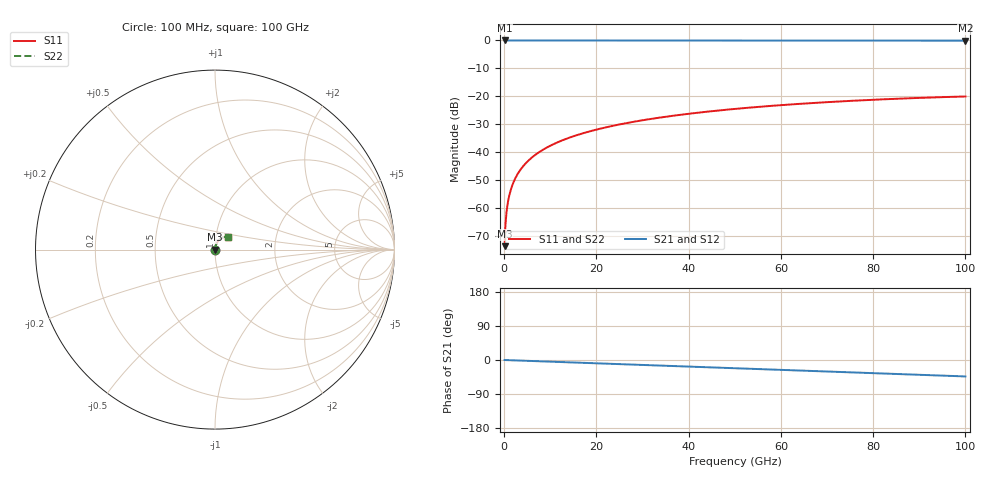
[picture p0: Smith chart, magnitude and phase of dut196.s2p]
! Touchstone file exported from HFSS 2026.1.0
!  File:  C:/ffzhzh/LocalFiles/Ansys_Project_Files/temp_train_TSV_196_1783507390_41296.aedt
!  Generated:  06:44:25 PM Jul  8, 2026
!  Design:  TSV
!  Project:  temp_train_TSV_196_1783507390_41296
! Variables:
!  h_bsmrdl = 2um
!  h_ox = 20um
!  h_rdl = 5um
!  h_sub = 84.22um
!  h_tmrdl = 5um
!  h_tsv = 84.22um
!  h_via = 3um
!  l_bsmrdl = 300um
!  l_sub = 421.22um
!  l_tmrdl = 200um
!  m_sub = 200um
!  pitch = 51.95um
!  r_tsv = 10.61um
!  s_tmrdl = 10um
!  w_bsmrdl = 18um
!  w_sub = 500um
!  w_tmrdl = 12um
!  x_tsv_center1 = 206um
!  x_tsv_center2 = 524um
!  x_tsv_center3 = 736um
!  x_tsv_center4 = 1054um
!  x_tsv_center5 = 1266um
!  x_tsv_center6 = 1584um
# GHz S MA R 50.000000
! Terminal data exported
! Port[1] = TSV1_1_T1
! Port[2] = TSV1_1_T2
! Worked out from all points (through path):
!   1000 points, 100 MHz to 100 GHz, reference 50 ohm
!   highest |S21| = 0.00 dB at 100 MHz (marker M1); lowest = -0.1 dB at 100 GHz (marker M2)
!   group delay of S21, straight-line fit = 1.2 ps
!   lowest |S11| = -73.7 dB at 100 MHz (marker M3), VSWR 1.00, Z = 50 + j0.0169 ohm
!   |S11| at or under -10 dB: start of sweep to end of sweep
!   |S22| runs from -73.7 to -20.1 dB; largest |S21 - S12| = 6e-15
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0.1  0.000207 54.9  0.9999 -0.0  0.9999 -0.0  0.000207 54.9
! Gamma 0 0 0 0
! Port Impedance 50 0 50 0
0.3  0.0005178 73.0  0.9999 -0.1  0.9999 -0.1  0.0005178 73.0
0.7  0.001106 77.6  0.9998 -0.3  0.9998 -0.3  0.001106 77.6
0.8  0.001244 78.1  0.9997 -0.4  0.9997 -0.4  0.001244 78.1
1  0.001517 78.9  0.9997 -0.4  0.9997 -0.4  0.001517 78.9
1.3  0.00192 79.9  0.9997 -0.6  0.9997 -0.6  0.00192 79.9
1.8  0.002585 80.9  0.9996 -0.8  0.9996 -0.8  0.002585 80.9
2.3  0.003244 81.5  0.9996 -1.0  0.9996 -1.0  0.003244 81.5
3  0.004157 82.0  0.9995 -1.3  0.9995 -1.3  0.004157 82.0
3.8  0.005188 82.3  0.9994 -1.7  0.9994 -1.7  0.005188 82.3
4.8  0.006466 82.5  0.9994 -2.1  0.9994 -2.1  0.006466 82.5
6  0.007989 82.5  0.9993 -2.6  0.9993 -2.6  0.007989 82.5
8.8  0.01152 82.0  0.9991 -3.9  0.9991 -3.9  0.01152 82.0
12.4  0.016 81.0  0.9989 -5.4  0.9989 -5.4  0.016 81.0
16.8  0.02142 79.6  0.9986 -7.3  0.9986 -7.3  0.02142 79.6
24.2  0.03036 76.9  0.9981 -10.5  0.9981 -10.5  0.03036 76.9
33.4  0.04116 73.2  0.9975 -14.5  0.9975 -14.5  0.04116 73.2
41.2  0.04995 70.1  0.9969 -17.9  0.9969 -17.9  0.04995 70.1
50.1  0.05949 66.4  0.9962 -21.8  0.9962 -21.8  0.05949 66.4
66.7  0.07562 59.5  0.9948 -28.9  0.9948 -28.9  0.07562 59.4
83.4  0.08915 52.4  0.9934 -36.2  0.9934 -36.2  0.08915 52.4
100  0.09923 45.4  0.992 -43.4  0.992 -43.4  0.09923 45.4
